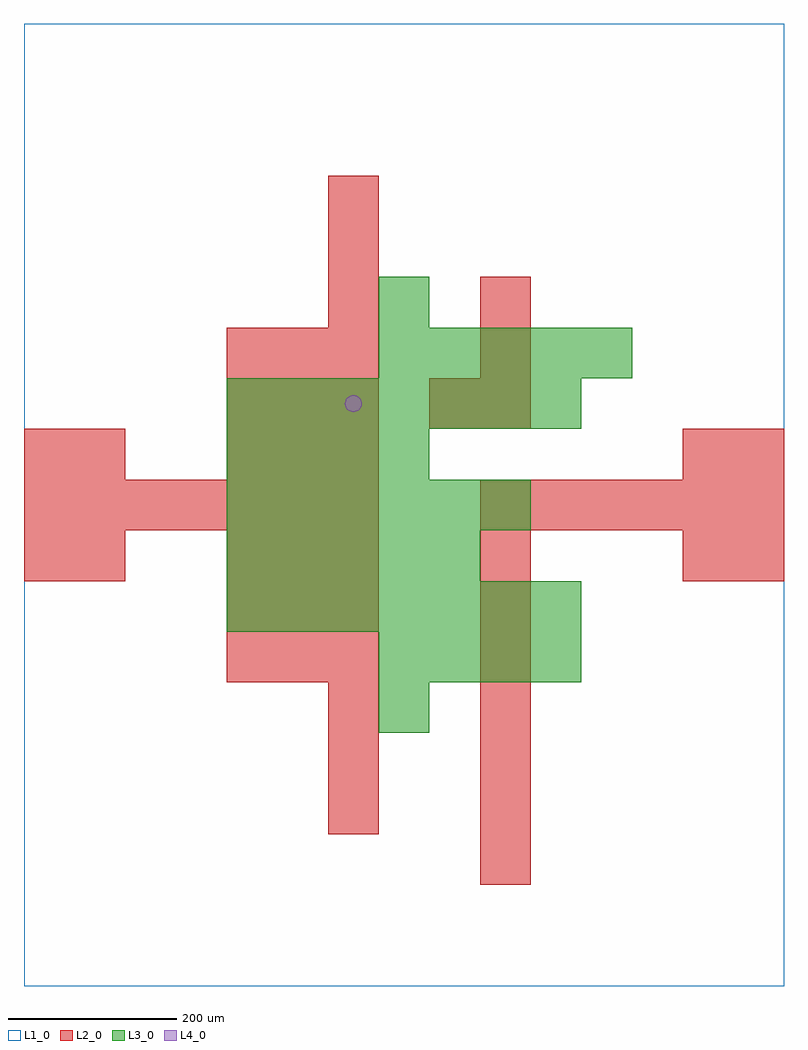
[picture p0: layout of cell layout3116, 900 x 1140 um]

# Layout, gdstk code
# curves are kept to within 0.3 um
import gdstk
lib = gdstk.Library(unit=1e-6, precision=1e-09)
def R(c, l, rs):  # rectangles x0, y0, x1, y1
    for r in rs: c.add(gdstk.rectangle(r[:2], r[2:], *l))
def A(c, l, x, y, w, h, nx, ny, dx, dy):  # array of equal rectangles
    R(c, l, [(x+i*dx, y+j*dy, x+i*dx+w, y+j*dy+h) for i in range(nx) for j in range(ny)])
def P(c, l, *ps):  # polygons
    for p in ps: c.add(gdstk.Polygon(p, *l))
L1_0 = (1, 0)
L2_0 = (2, 0)
L3_0 = (3, 0)
L4_0 = (4, 0)

layout3116 = lib.new_cell('layout3116')
R(layout3116, L1_0, [(0,0,900,1140)])
A(layout3116, L2_0, 540, 120, 60, 60, 1, 7, 0, 60)
A(layout3116, L2_0, 360, 180, 60, 60, 1, 3, 0, 60)
A(layout3116, L2_0, 240, 360, 60, 60, 3, 3, 60, 60)
A(layout3116, L2_0, 0, 540, 60, 60, 7, 1, 60, 0)
A(layout3116, L2_0, 540, 540, 60, 60, 6, 1, 60, 0)
A(layout3116, L2_0, 240, 600, 60, 60, 3, 3, 60, 60)
A(layout3116, L2_0, 540, 660, 60, 60, 1, 3, 0, 60)
A(layout3116, L2_0, 360, 780, 60, 60, 1, 3, 0, 60)
R(layout3116, L2_0, [(0,480,60,540), (60,480,120,540), (780,480,840,540), (840,480,900,540), (0,600,60,660), (60,600,120,660), (780,600,840,660), (840,600,900,660), (480,660,540,720)])
A(layout3116, L3_0, 420, 360, 60, 60, 4, 1, 60, 0)
A(layout3116, L3_0, 240, 420, 60, 60, 7, 2, 60, 240)
A(layout3116, L3_0, 240, 480, 60, 60, 5, 1, 60, 0)
A(layout3116, L3_0, 240, 540, 60, 60, 6, 1, 60, 0)
A(layout3116, L3_0, 240, 600, 60, 60, 4, 1, 60, 0)
A(layout3116, L3_0, 420, 720, 60, 60, 5, 1, 60, 0)
R(layout3116, L3_0, [(420,300,480,360), (420,780,480,840)])
P(layout3116, L4_0, [(400,690),(399.239,693.827),(397.071,697.071),(393.827,699.239),(390,700),(386.173,699.239),(382.929,697.071),(380.761,693.827),(380,690),(380.761,686.173),(382.929,682.929),(386.173,680.761),(390,680),(393.827,680.761),(397.071,682.929),(399.239,686.173)])

lib.write_gds('layout3116.gds')
